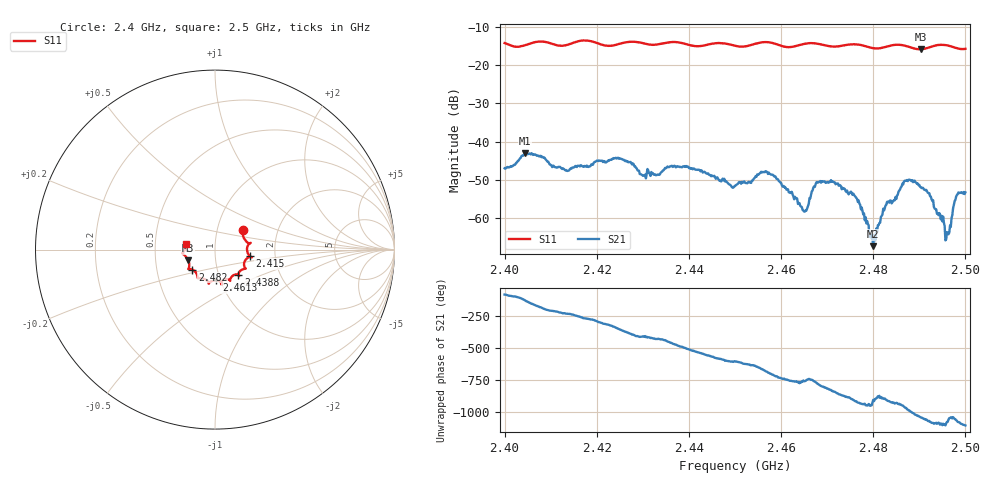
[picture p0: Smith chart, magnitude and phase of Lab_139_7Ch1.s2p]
# Hz S RI R 50
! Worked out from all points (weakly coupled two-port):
!   601 points, 2.4 GHz to 2.5 GHz, reference 50 ohm
!   highest |S21| = -42.96 dB at 2.4045 GHz (marker M1); lowest = -67.2 dB at 2.48 GHz (marker M2)
!   lowest |S11| = -15.9 dB at 2.4903 GHz (marker M3), VSWR 1.38, Z = 36.8 - j4.48 ohm
!   |S11| at or under -10 dB: start of sweep to end of sweep
!   S12 and S22 are empty: the file has one direction only
!   S11 on the Smith chart (normalised r, x): 2.4 GHz: 1.33, +0.31; 2.415 GHz: 1.47, -0.11; 2.4388 GHz: 1.24, -0.36; 2.4613 GHz: 0.96, -0.34; 2.482 GHz: 0.76, -0.17; 2.5 GHz: 0.72, +0.05
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2.4e9  0.158 0.1119  0.00057 -0.00447  0 0  0 0
2.4045e9  0.1768 0.0426  -0.00453 -0.00548  0 0  0 0
2.415e9  0.1926 -0.036  -0.00221 0.00405  0 0  0 0
2.416667e9  0.2036 -0.0439  -0.000809 0.00485  0 0  0 0
2.424667e9  0.1628 -0.0924  0.0061 0.00101  0 0  0 0
2.433333e9  0.1323 -0.1315  0.00141 -0.00346  0 0  0 0
2.438833e9  0.1299 -0.1408  -0.0035 -0.00326  0 0  0 0
2.45e9  0.0689 -0.1648  -0.00115 0.00237  0 0  0 0
2.4565e9  0.0377 -0.1957  0.00299 0.00268  0 0  0 0
2.461333e9  0.00759 -0.1713  0.00209 -0.00111  0 0  0 0
2.465167e9  -0.0338 -0.1865  0.000946 -0.00079  0 0  0 0
2.466667e9  -0.0349 -0.1901  0.00198 -0.00107  0 0  0 0
2.471e9  -0.0539 -0.1661  -0.00132 -0.00271  0 0  0 0
2.4755e9  -0.0943 -0.1609  -0.00203 4.99e-05  0 0  0 0
2.48e9  -0.1064 -0.1273  -0.000434 4.31e-05  0 0  0 0
2.482e9  -0.1257 -0.1117  -0.00111 -0.000204  0 0  0 0
2.483333e9  -0.1394 -0.1088  -0.00161 0.000427  0 0  0 0
2.487167e9  -0.1455 -0.101  -0.00109 0.00293  0 0  0 0
2.490333e9  -0.1492 -0.0593  0.00205 0.00152  0 0  0 0
2.496e9  -0.1798 -0.0172  0.000665 1.98e-05  0 0  0 0
2.498e9  -0.1669 -0.000439  0.00188 0.000495  0 0  0 0
2.5e9  -0.1593 0.0328  0.00197 -0.000956  0 0  0 0
